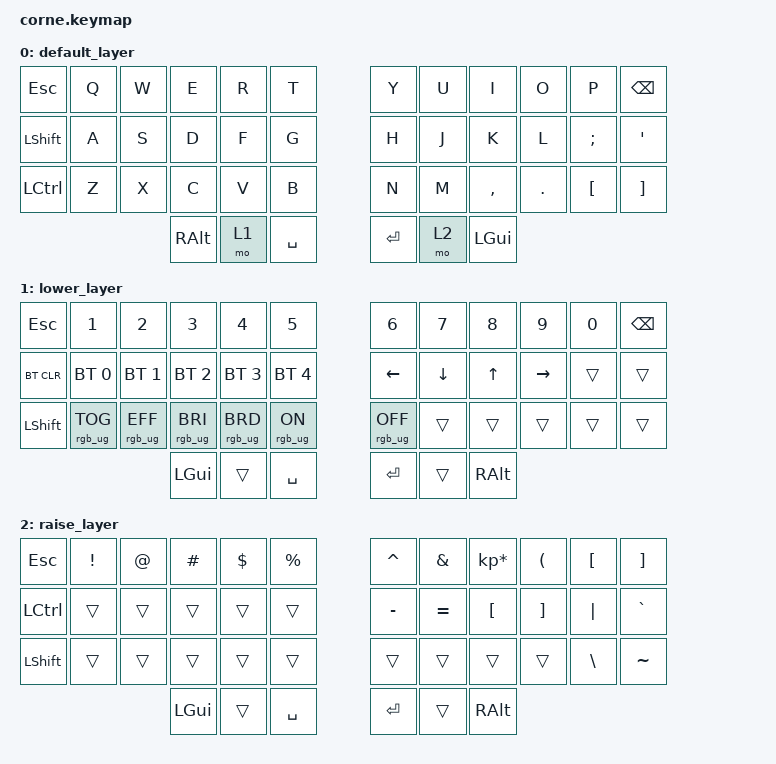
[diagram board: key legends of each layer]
/*
 * Copyright (c) 2020 The ZMK Contributors
 *
 * SPDX-License-Identifier: MIT
 */

#include <behaviors.dtsi>
#include <dt-bindings/zmk/bt.h>
#include <dt-bindings/zmk/keys.h>
#include <dt-bindings/zmk/rgb.h>

/ {
    keymap {
        compatible = "zmk,keymap";

        // Добавлено: RGB-подсветка для слоёв (альтернативный вариант)

        default_layer {
            // -----------------------------------------------------------------------------------------
            // |  TAB |  Q  |  W  |  E  |  R  |  T  |   |  Y  |  U   |  I  |  O  |  P  | BKSP |
            // | CTRL |  A  |  S  |  D  |  F  |  G  |   |  H  |  J   |  K  |  L  |  ;  |  '   |
            // | SHFT |  Z  |  X  |  C  |  V  |  B  |   |  N  |  M   |  ,  |  .  |  /  | SHFT |
            //                    | GUI | LWR | SPC |   | ENT | RSE  | ALT |

            bindings = <
&kp ESCAPE      &kp Q  &kp W  &kp E          &kp R  &kp T        &kp Y    &kp U  &kp I         &kp O    &kp P             &kp BSPC
&kp LEFT_SHIFT  &kp A  &kp S  &kp D          &kp F  &kp G        &kp H    &kp J  &kp K         &kp L    &kp SEMI          &kp SQT
&kp LCTRL       &kp Z  &kp X  &kp C          &kp V  &kp B        &kp N    &kp M  &kp COMMA     &kp DOT  &kp LEFT_BRACKET  &kp RIGHT_BRACKET
                              &kp RIGHT_ALT  &mo 1  &kp SPACE    &kp RET  &mo 2  &kp LEFT_GUI
            >;
        };

        lower_layer {
            // -----------------------------------------------------------------------------------------
            // |  ESC |  1  |  2  |  3  |  4  |  5  |   |  6  |  7  |  8  |  9  |  0  | BKSP |
            // | BTCLR| BT1 | BT2 | BT3 | BT4 | BT5 |   | LFT | DWN |  UP | RGT |     |      |
            // | SHFT |     |     |     |     |     |   |     |     |     |     |     |      |
            //                    | GUI |     | SPC |   | ENT |     | ALT |

            bindings = <
&kp ESC     &kp N1           &kp N2           &kp N3           &kp N4           &kp N5            &kp N6           &kp N7    &kp N8    &kp N9     &kp N0  &kp BSPC
&bt BT_CLR  &bt BT_SEL 0     &bt BT_SEL 1     &bt BT_SEL 2     &bt BT_SEL 3     &bt BT_SEL 4      &kp LEFT         &kp DOWN  &kp UP    &kp RIGHT  &trans  &trans
&kp LSHFT   &rgb_ug RGB_TOG  &rgb_ug RGB_EFF  &rgb_ug RGB_BRI  &rgb_ug RGB_BRD  &rgb_ug RGB_ON    &rgb_ug RGB_OFF  &trans    &trans    &trans     &trans  &trans
                                              &kp LGUI         &trans           &kp SPACE         &kp RET          &trans    &kp RALT
            >;
        };

        raise_layer {
            // -----------------------------------------------------------------------------------------
            // |  ESC |  !  |  @  |  #  |  $  |  %  |   |  ^  |  &  |  *  |  (  |  )  | BKSP |
            // | CTRL |     |     |     |     |     |   |  -  |  =  |  {  |  }  | "|" |  `   |
            // | SHFT |     |     |     |     |     |   |  _  |  +  |  [  |  ]  |  \  |  ~   | // TODO: Fix this row when &mkp is committed
            //                    | GUI |     | SPC |   | ENT |     | ALT |

            bindings = <
&kp ESC    &kp EXCL  &kp AT  &kp HASH  &kp DLLR  &kp PRCNT    &kp CARET  &kp AMPS   &kp KP_MULTIPLY  &kp LPAR  &kp LEFT_BRACKET  &kp RIGHT_BRACKET
&kp LCTRL  &trans    &trans  &trans    &trans    &trans       &kp MINUS  &kp EQUAL  &kp LBKT         &kp RBKT  &kp PIPE          &kp GRAVE
&kp LSHFT  &trans    &trans  &trans    &trans    &trans       &trans     &trans     &trans           &trans    &kp BSLH          &kp TILDE
                             &kp LGUI  &trans    &kp SPACE    &kp RET    &trans     &kp RALT
            >;
        };
    };
};
